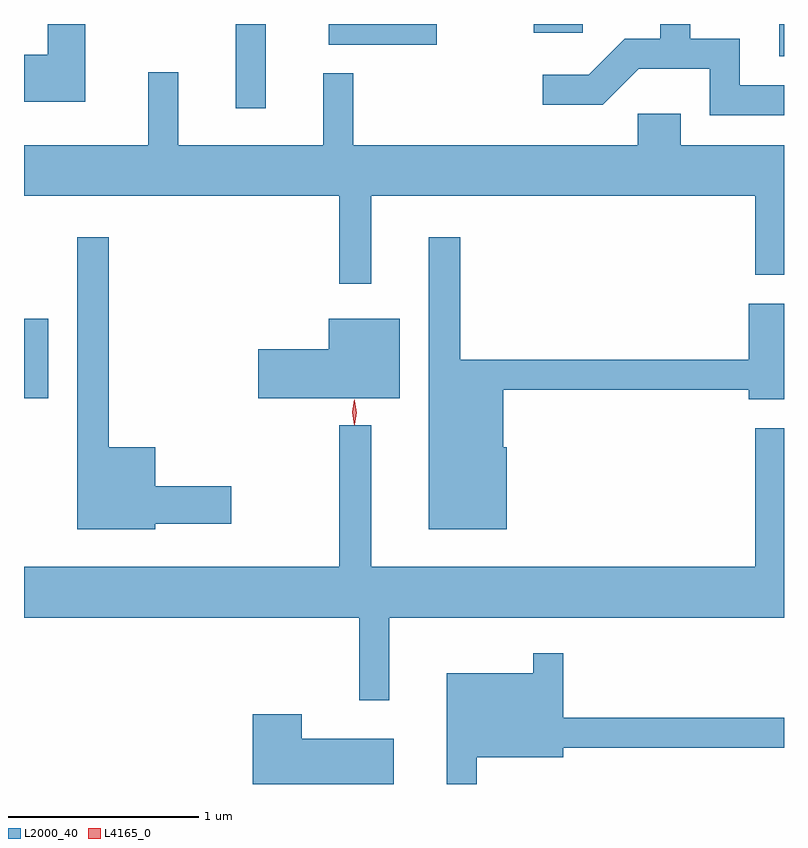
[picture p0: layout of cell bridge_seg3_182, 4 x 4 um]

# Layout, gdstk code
import gdstk
lib = gdstk.Library(unit=1e-6, precision=1e-09)
def R(c, l, rs):  # rectangles x0, y0, x1, y1
    for r in rs: c.add(gdstk.rectangle(r[:2], r[2:], *l))
def P(c, l, *ps):  # polygons
    for p in ps: c.add(gdstk.Polygon(p, *l))
L2000_40 = (2000, 40)
L4165_0 = (4165, 0)

bridge_seg3_182 = lib.new_cell('bridge_seg3_182')
R(bridge_seg3_182, L2000_40, [(881.912,1124.951,882.039,1125.369), (883.026,1126.478,883.184,1126.921), (885.886,1126.751,885.912,1126.921), (883.516,1126.811,884.084,1126.921), (884.596,1126.876,884.854,1126.921)])
P(bridge_seg3_182, L2000_40, [(885.912,1126.599),(885.679,1126.599),(885.679,1126.844),(885.419,1126.844),(885.419,1126.921),(885.261,1126.921),(885.261,1126.844),(885.074,1126.844),(884.884,1126.654),(884.643,1126.654),(884.643,1126.496),(884.957,1126.496),(885.147,1126.686),(885.521,1126.686),(885.521,1126.441),(885.912,1126.441)],
  [(882.234,1126.921),(882.036,1126.921),(882.036,1126.759),(881.912,1126.759),(881.912,1126.511),(882.234,1126.511)],
  [(883.739,1126.016),(885.761,1126.016),(885.761,1125.601),(885.912,1125.601),(885.912,1126.284),(885.369,1126.284),(885.369,1126.449),(885.141,1126.449),(885.141,1126.284),(883.644,1126.284),(883.644,1126.663),(883.486,1126.663),(883.486,1126.284),(882.724,1126.284),(882.724,1126.668),(882.566,1126.668),(882.566,1126.284),(881.912,1126.284),(881.912,1126.016),(883.571,1126.016),(883.571,1125.553),(883.739,1125.553)],
  [(882.604,1124.291),(883.004,1124.291),(883.004,1124.489),(882.604,1124.489),(882.604,1124.694),(882.359,1124.694),(882.359,1125.798),(882.191,1125.798),(882.191,1124.261),(882.604,1124.261)],
  [(884.454,1124.694),(884.434,1124.694),(884.434,1124.996),(885.726,1124.996),(885.726,1124.946),(885.912,1124.946),(885.912,1125.449),(885.726,1125.449),(885.726,1125.154),(884.209,1125.154),(884.209,1125.798),(884.041,1125.798),(884.041,1124.261),(884.454,1124.261)],
  [(883.889,1125.369),(883.516,1125.369),(883.516,1125.209),(883.146,1125.209),(883.146,1124.951),(883.889,1124.951)],
  [(883.834,1123.796),(885.912,1123.796),(885.912,1124.794),(885.761,1124.794),(885.761,1124.064),(883.739,1124.064),(883.739,1124.808),(883.571,1124.808),(883.571,1124.064),(881.912,1124.064),(881.912,1123.796),(883.676,1123.796),(883.676,1123.363),(883.834,1123.363)],
  [(884.294,1123.061),(884.749,1123.061),(884.749,1123.111),(885.912,1123.111),(885.912,1123.269),(884.749,1123.269),(884.749,1123.608),(884.591,1123.608),(884.591,1123.504),(884.136,1123.504),(884.136,1122.921),(884.294,1122.921)],
  [(883.859,1123.159),(883.374,1123.159),(883.374,1123.289),(883.116,1123.289),(883.116,1122.921),(883.859,1122.921)])
P(bridge_seg3_182, L4165_0, [(883.649,1124.81),(883.64,1124.878),(883.649,1124.946),(883.649,1124.946),(883.65,1124.946),(883.659,1124.878),(883.65,1124.81),(883.65,1124.81)],
  [(883.652,1124.813),(883.652,1124.813),(883.642,1124.876),(883.652,1124.939),(883.652,1124.94),(883.653,1124.939),(883.662,1124.876),(883.653,1124.813)])

lib.write_gds('bridge_seg3_182.gds')
